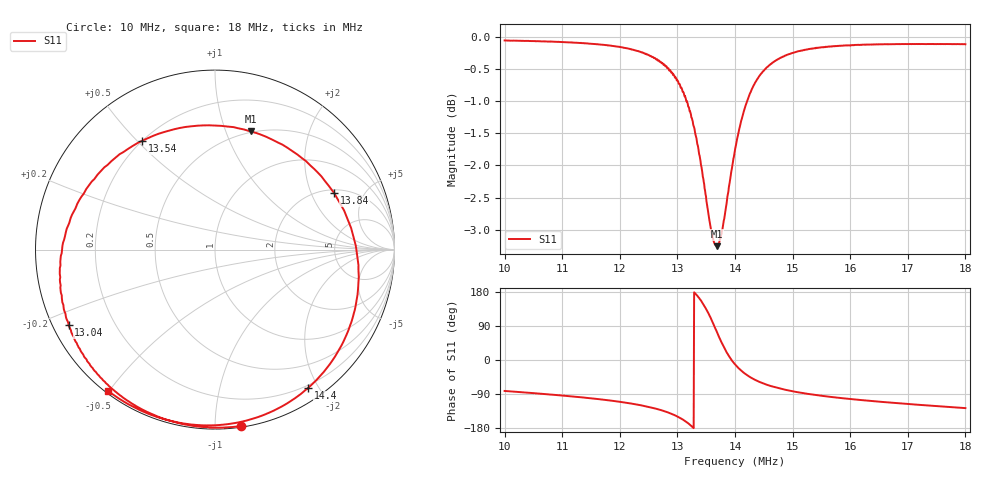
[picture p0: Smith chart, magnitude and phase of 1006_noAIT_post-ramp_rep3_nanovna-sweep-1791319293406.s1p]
! NanoVNA Web complex sweep
! Processing: unaveraged complex samples; linear segment spacing; no smoothing
# Hz S RI R 50
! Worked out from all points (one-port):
!   1010 points, 10 MHz to 18 MHz, reference 50 ohm
!   lowest |S11| = -3.3 dB at 13.69 MHz (marker M1), VSWR 5.40, Z = 24.5 + j61.2 ohm
!   |S11| at or under -10 dB: nowhere
!   S11 on the Smith chart (normalised r, x): 10 MHz: 0.01, -1.16; 13.04 MHz: 0.05, -0.24; 13.54 MHz: 0.20, +0.52; 13.84 MHz: 2.18, +2.97; 14.4 MHz: 0.17, -1.86; 18 MHz: 0.01, -0.50
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1e7  0.1435 -0.9834
1.100698e7  -0.0663 -0.9887
1.200604e7  -0.3429 -0.9201
1.235491e7  -0.474 -0.8506
1.260864e7  -0.5889 -0.7619
1.282272e7  -0.6984 -0.6377
1.300509e7  -0.7968 -0.4691
1.304474e7  -0.816 -0.4202
1.321124e7  -0.8619 -0.154
1.333811e7  -0.8188 0.1325
1.344119e7  -0.672 0.3933
1.353633e7  -0.4072 0.6053
1.361562e7  -0.0977 0.6903
1.368698e7  0.1985 0.6581
1.376628e7  0.4834 0.5104
1.383764e7  0.6643 0.3142
1.391693e7  0.7718 0.0699
1.400414e7  0.7999 -0.1751
1.409136e7  0.7691 -0.3723
1.418651e7  0.7017 -0.5395
1.428959e7  0.6138 -0.6721
1.44006e7  0.5174 -0.7716
1.465432e7  0.3238 -0.8987
1.50032e7  0.1237 -0.9639
1.546308e7  -0.0622 -0.9792
1.600225e7  -0.22 -0.9597
1.700131e7  -0.4341 -0.8868
1.800036e7  -0.5938 -0.7886
